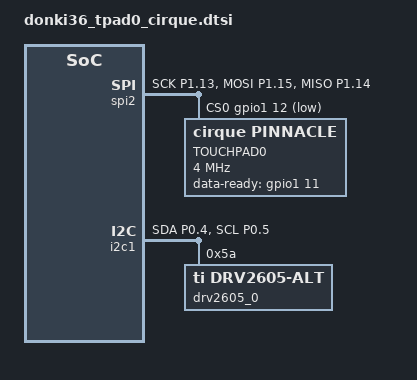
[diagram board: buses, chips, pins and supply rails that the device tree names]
/*
 * Copyright (c) 2020 Pete Johanson
 *
 * SPDX-License-Identifier: MIT
 */

&pinctrl {
	spi2_default: spi2_default {
		group1 {
			psels = <NRF_PSEL(SPIM_SCK, 1, 13)>,
							<NRF_PSEL(SPIM_MOSI, 1, 15)>,
							<NRF_PSEL(SPIM_MISO, 1, 14)>;
		};
	};
	spi2_sleep: spi2_sleep {
		group1 {
			psels = <NRF_PSEL(SPIM_SCK, 1, 13)>,
							<NRF_PSEL(SPIM_MOSI, 1, 15)>,
							<NRF_PSEL(SPIM_MISO, 1, 14)>;
			low-power-enable;
		};
	};
	i2c1_default: i2c1_default {
		group1 {
			psels = <NRF_PSEL(TWIM_SDA, 0, 4)>,
							<NRF_PSEL(TWIM_SCL, 0, 5)>;
		};
	};

	i2c1_sleep: i2c1_sleep {
		group1 {
			psels = <NRF_PSEL(TWIM_SDA, 0, 4)>,
							<NRF_PSEL(TWIM_SCL, 0, 5)>;
			low-power-enable;
		};
	};
};

// release gpio1 11 & 12 from xiao_ble-pinctrl.dtsi
// for &trackball { irq-gpios }
&uart0 {
	status = "disabled";
};

&spi2 {
	compatible = "nordic,nrf-spim";
	status = "disabled"; // <<< disabled in main .dtsi, okay in .overlay
	tpad0: glidepoint@0 {
		compatible = "cirque,pinnacle";
		status = "disabled";
		label = "TOUCHPAD0";
		reg = <0>;
		spi-max-frequency = <4000000>;
	};
};

// Config custom gpios
&spi2 {
  status = "okay";
	pinctrl-0 = <&spi2_default>;
	pinctrl-1 = <&spi2_sleep>;
	pinctrl-names = "default", "sleep";
	cs-gpios = <&gpio1 12 GPIO_ACTIVE_LOW>;
};

&tpad0 {
  status = "okay";
	data-ready-gpios = <&gpio1 11 GPIO_ACTIVE_HIGH>;
	sleep-mode-enable;
	sensitivity = "2x";
	data-mode = "absolute";
};

&i2c1 {
	status = "okay";
	compatible = "nordic,nrf-twim";
	pinctrl-0 = <&i2c1_default>;
	pinctrl-1 = <&i2c1_sleep>;
	pinctrl-names = "default", "sleep";

	drv2605_0: drv2605@5a {
		compatible = "ti,drv2605-alt";
		reg = <0x5a>;
		library = <6>; /* Library to use, 0 = Empty, 1-5 are ERM, 6 is LRA. */
		standby-ms = <1000>; /* switch to standby mode after idling for 1000ms */
	};
};

/{
	gpio_drv2605_0: gpio_drv2605_0 {
		compatible = "ti,drv2605-alt-gpio";
		status = "okay";
		gpio-controller;
		#gpio-cells = <2>;
		dev-reg = <0x5a>;
	};
	gpio_drv2605_1: gpio_drv2605_1 {
		compatible = "ti,drv2605-alt-gpio";
		status = "okay";
		gpio-controller;
		#gpio-cells = <2>;
		dev-reg = <0x5a>;
	};
	// gpio_drv2605_2: gpio_drv2605_2 {
	// 	compatible = "ti,drv2605-alt-gpio";
	// 	status = "okay";
	// 	gpio-controller;
	// 	#gpio-cells = <2>;
	// 	dev-reg = <0x5a>;
	// };
};

#include <input/processors/cirque.dtsi>

&zip_cirque {
	feedback-tap-drag-gpios = <&gpio_drv2605_0 0 9>; // waveform: 9
	feedback-tap-drag-ms = <5>;

	feedback-edge-scroll-start-gpios = <&gpio_drv2605_0 0 9>; // waveform: 9
	feedback-edge-scroll-start-ms = <5>;

	feedback-edge-scroll-trigger-gpios = <&gpio_drv2605_1 0 9>; // waveform: 9
	feedback-edge-scroll-trigger-ms = <2>;

	/* Enable haptic feedback on touching/gliding
	 * (Steam Deck / Steam Controller favor)
	 */
	// feedback-glide-gpios = <&gpio_drv2605_2 0 9>; // waveform: 9
	// feedback-glide-ms = <2>;
	// feedback-glide-interval-ms = <25>;

	/* Finetune scrolling edge margin for feedback enabled */
  edge-scroll-margin-h-pct = <29>; // default: 25
  edge-scroll-margin-v-pct = <22>; // default: 19
};

/{
	dpi_cycle: dpi_cycle {
		compatible = "zmk,behavior-sensor-attr-cycle";
		status = "disabled";
		#binding-cells = <1>;
		values = < 0 >;
		attr = <0>;
		sensor_device = <&tpad0>;
		display-name = "DPI cycle";
		// persistant;
	};
};
